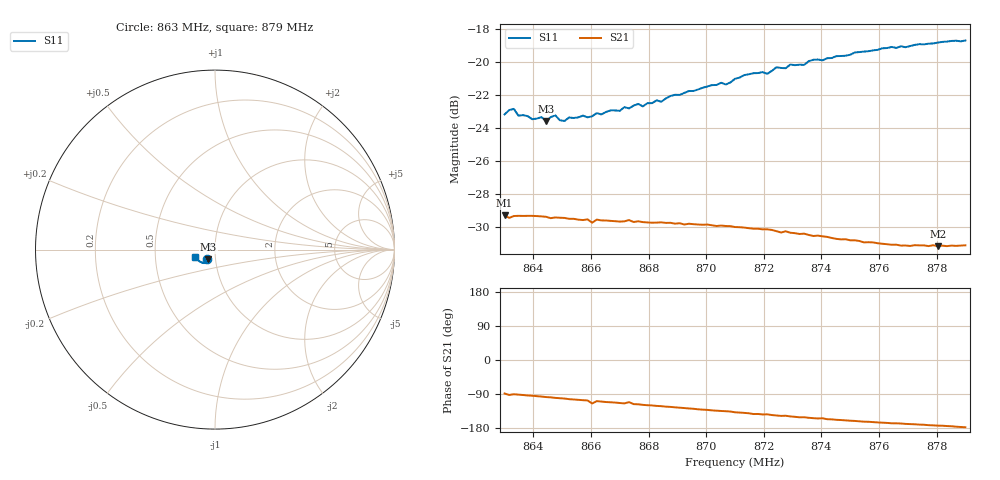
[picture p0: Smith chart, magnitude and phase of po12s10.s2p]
# HZ S RI R 50
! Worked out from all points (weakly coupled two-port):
!   101 points, 863 MHz to 879 MHz, reference 50 ohm
!   highest |S21| = -29.29 dB at 863 MHz (marker M1); lowest = -31.2 dB at 878.04 MHz (marker M2)
!   lowest |S11| = -23.6 dB at 864.44 MHz (marker M3), VSWR 1.14, Z = 46.1 - j5.07 ohm
!   |S11| at or under -10 dB: start of sweep to end of sweep
!   S12 and S22 are empty: the file has one direction only
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8.63e8  -0.0424 -0.0551  0.000973 -0.0343  0 0  0 0
8.6332e8  -0.0455 -0.0561  -0.000192 -0.0342  0 0  0 0
8.6348e8  -0.0425 -0.0542  -0.000845 -0.0342  0 0  0 0
8.6396e8  -0.0392 -0.0545  -0.00258 -0.0341  0 0  0 0
8.6428e8  -0.0393 -0.0558  -0.00381 -0.0339  0 0  0 0
8.6444e8  -0.0375 -0.0547  -0.0046 -0.0337  0 0  0 0
8.6476e8  -0.0384 -0.0574  -0.00583 -0.0333  0 0  0 0
8.6508e8  -0.0349 -0.0565  -0.00683 -0.033  0 0  0 0
8.6572e8  -0.0356 -0.059  -0.00916 -0.0319  0 0  0 0
8.6588e8  -0.0343 -0.0588  -0.00965 -0.032  0 0  0 0
8.6844e8  -0.0378 -0.0659  -0.0172 -0.0278  0 0  0 0
8.694e8  -0.0412 -0.0707  -0.0199 -0.0255  0 0  0 0
8.7068e8  -0.0462 -0.0721  -0.0226 -0.0225  0 0  0 0
8.71e8  -0.0496 -0.074  -0.0235 -0.0212  0 0  0 0
8.7164e8  -0.0546 -0.0748  -0.0248 -0.019  0 0  0 0
8.7212e8  -0.0548 -0.0743  -0.025 -0.0186  0 0  0 0
8.7244e8  -0.0605 -0.0753  -0.0256 -0.017  0 0  0 0
8.734e8  -0.065 -0.0736  -0.0264 -0.0146  0 0  0 0
8.7372e8  -0.0705 -0.0734  -0.0266 -0.0133  0 0  0 0
8.7644e8  -0.0929 -0.0613  -0.0272 -0.00629  0 0  0 0
8.7804e8  -0.1037 -0.0492  -0.0275 -0.00327  0 0  0 0
8.79e8  -0.1097 -0.0391  -0.0278 -0.00119  0 0  0 0
